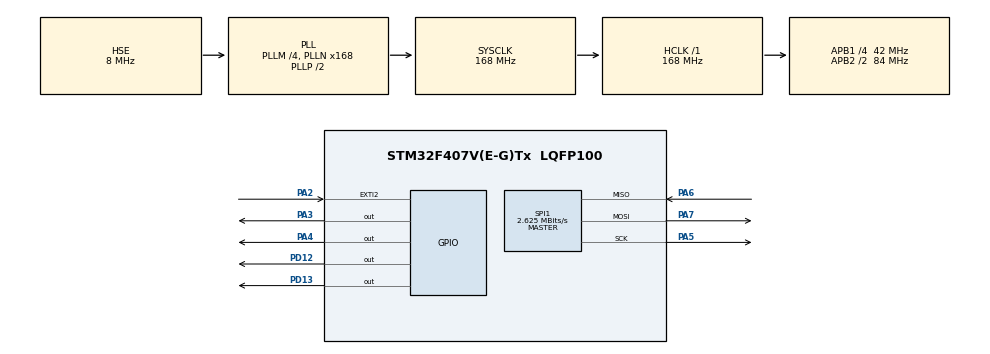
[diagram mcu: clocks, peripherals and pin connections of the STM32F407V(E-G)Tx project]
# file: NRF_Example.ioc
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Mcu.Family=STM32F4
Mcu.Name=STM32F407V(E-G)Tx
Mcu.Package=LQFP100
NVIC.EXTI2_IRQn=true\:0\:0\:false\:false\:true\:true\:true
NVIC.PriorityGroup=NVIC_PRIORITYGROUP_4
PA2.GPIO_ModeDefaultEXTI=GPIO_MODE_IT_RISING_FALLING
PA2.Signal=GPXTI2
PA3.Signal=GPIO_Output
PA4.Signal=GPIO_Output
PA5.Mode=Full_Duplex_Master
PA5.Signal=SPI1_SCK
PA6.Mode=Full_Duplex_Master
PA6.Signal=SPI1_MISO
PA7.Mode=Full_Duplex_Master
PA7.Signal=SPI1_MOSI
PD12.Signal=GPIO_Output
PD13.Signal=GPIO_Output
PH0-OSC_IN.Mode=HSE-External-Oscillator
PH0-OSC_IN.Signal=RCC_OSC_IN
PH1-OSC_OUT.Mode=HSE-External-Oscillator
PH1-OSC_OUT.Signal=RCC_OSC_OUT
ProjectManager.HeapSize=0x200
ProjectManager.StackSize=0x400
ProjectManager.TargetToolchain=STM32CubeIDE
RCC.48MHZClocksFreq_Value=84000000
RCC.AHBFreq_Value=168000000
RCC.APB1CLKDivider=RCC_HCLK_DIV4
RCC.APB1Freq_Value=42000000
RCC.APB1TimFreq_Value=84000000
RCC.APB2CLKDivider=RCC_HCLK_DIV2
RCC.APB2Freq_Value=84000000
RCC.APB2TimFreq_Value=168000000
RCC.CortexFreq_Value=168000000
RCC.HCLKFreq_Value=168000000
RCC.HSE_VALUE=8000000
RCC.HSI_VALUE=16000000
RCC.LSE_VALUE=32768
RCC.PLLM=4
RCC.PLLN=168
RCC.PLLSourceVirtual=RCC_PLLSOURCE_HSE
RCC.SYSCLKFreq_VALUE=168000000
RCC.SYSCLKSource=RCC_SYSCLKSOURCE_PLLCLK
RCC.VCOOutputFreq_Value=336000000
SPI1.BaudRatePrescaler=SPI_BAUDRATEPRESCALER_32
SPI1.CalculateBaudRate=2.625 MBits/s
SPI1.Direction=SPI_DIRECTION_2LINES
SPI1.Mode=SPI_MODE_MASTER
SPI1.VirtualType=VM_MASTER
board=custom

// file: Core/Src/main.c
/* USER CODE BEGIN Header */
/**
  ******************************************************************************
  * @file           : main.c
  * @brief          : Main program body
  ******************************************************************************
  * @attention
  *
  * <h2><center>&copy; Copyright (c) 2020 STMicroelectronics.
  * All rights reserved.</center></h2>
  *
  * This software component is licensed by ST under BSD 3-Clause license,
  * the "License"; You may not use this file except in compliance with the
  * License. You may obtain a copy of the License at:
  *                        opensource.org/licenses/BSD-3-Clause
  *
  ******************************************************************************
  */
/* USER CODE END Header */

#include "main.h"

/* USER CODE BEGIN Includes */
#include "dwt_delay.h"
#include "nRF24L01P.h"
/* USER CODE END Includes */

/* USER CODE BEGIN PD */
void NRFSendData(char * nrfID, char * nrfData);
void NRF_main_init(void);
/* USER CODE END PD */

SPI_HandleTypeDef hspi1;

/* USER CODE BEGIN PV */
nRF24L01P myNRF;
char RXBuffer[32];
char TXBuffer[32];
char regStatus;
/* USER CODE END PV */

void SystemClock_Config(void);
static void MX_GPIO_Init(void);
static void MX_SPI1_Init(void);

int main(void)
{

  /* MCU Configuration--------------------------------------------------------*/

  /* Reset of all peripherals, Initializes the Flash interface and the Systick. */
  HAL_Init();

  /* Configure the system clock */
  SystemClock_Config();

  /* Initialize all configured peripherals */
  MX_GPIO_Init();
  MX_SPI1_Init();
  /* USER CODE BEGIN 2 */
  HAL_Delay(100);
  DWT_Init();
  NRF_main_init();
  /* USER CODE END 2 */

  /* Infinite loop */
  while (1)
  {

    /* USER CODE BEGIN 3 */
	  NRFSendData("00000", "1234567890");
	  HAL_Delay(100);

	  if((myNRF.RXIRQ==1) && (!myNRF.Busy))
	  {
		  HAL_GPIO_TogglePin(GPIOD, GPIO_PIN_13);
		  myNRF.RXIRQ==0;
		  if(myNRF.RX_Buffer[0] > 100 )
		  {

		  }
	  }

	  HAL_GPIO_TogglePin(GPIOD, GPIO_PIN_14);

  }
  /* USER CODE END 3 */
}

void SystemClock_Config(void)
{
  RCC_OscInitTypeDef RCC_OscInitStruct = {0};
  RCC_ClkInitTypeDef RCC_ClkInitStruct = {0};

  /** Configure the main internal regulator output voltage
  */
  __HAL_RCC_PWR_CLK_ENABLE();
  __HAL_PWR_VOLTAGESCALING_CONFIG(PWR_REGULATOR_VOLTAGE_SCALE1);
  /** Initializes the CPU, AHB and APB busses clocks
  */
  RCC_OscInitStruct.OscillatorType = RCC_OSCILLATORTYPE_HSE;
  RCC_OscInitStruct.HSEState = RCC_HSE_ON;
  RCC_OscInitStruct.PLL.PLLState = RCC_PLL_ON;
  RCC_OscInitStruct.PLL.PLLSource = RCC_PLLSOURCE_HSE;
  RCC_OscInitStruct.PLL.PLLM = 4;
  RCC_OscInitStruct.PLL.PLLN = 168;
  RCC_OscInitStruct.PLL.PLLP = RCC_PLLP_DIV2;
  RCC_OscInitStruct.PLL.PLLQ = 4;
  if (HAL_RCC_OscConfig(&RCC_OscInitStruct) != HAL_OK)
  {
    Error_Handler();
  }
  /** Initializes the CPU, AHB and APB busses clocks
  */
  RCC_ClkInitStruct.ClockType = RCC_CLOCKTYPE_HCLK|RCC_CLOCKTYPE_SYSCLK
                              |RCC_CLOCKTYPE_PCLK1|RCC_CLOCKTYPE_PCLK2;
  RCC_ClkInitStruct.SYSCLKSource = RCC_SYSCLKSOURCE_PLLCLK;
  RCC_ClkInitStruct.AHBCLKDivider = RCC_SYSCLK_DIV1;
  RCC_ClkInitStruct.APB1CLKDivider = RCC_HCLK_DIV4;
  RCC_ClkInitStruct.APB2CLKDivider = RCC_HCLK_DIV2;

  if (HAL_RCC_ClockConfig(&RCC_ClkInitStruct, FLASH_LATENCY_5) != HAL_OK)
  {
    Error_Handler();
  }
}

static void MX_SPI1_Init(void)
{

  /* SPI1 parameter configuration*/
  hspi1.Instance = SPI1;
  hspi1.Init.Mode = SPI_MODE_MASTER;
  hspi1.Init.Direction = SPI_DIRECTION_2LINES;
  hspi1.Init.DataSize = SPI_DATASIZE_8BIT;
  hspi1.Init.CLKPolarity = SPI_POLARITY_LOW;
  hspi1.Init.CLKPhase = SPI_PHASE_1EDGE;
  hspi1.Init.NSS = SPI_NSS_SOFT;
  hspi1.Init.BaudRatePrescaler = SPI_BAUDRATEPRESCALER_32;
  hspi1.Init.FirstBit = SPI_FIRSTBIT_MSB;
  hspi1.Init.TIMode = SPI_TIMODE_DISABLE;
  hspi1.Init.CRCCalculation = SPI_CRCCALCULATION_DISABLE;
  hspi1.Init.CRCPolynomial = 10;
  if (HAL_SPI_Init(&hspi1) != HAL_OK)
  {
    Error_Handler();
  }

}

static void MX_GPIO_Init(void)
{
  GPIO_InitTypeDef GPIO_InitStruct = {0};

  /* GPIO Ports Clock Enable */
  __HAL_RCC_GPIOH_CLK_ENABLE();
  __HAL_RCC_GPIOA_CLK_ENABLE();
  __HAL_RCC_GPIOD_CLK_ENABLE();

  /*Configure GPIO pin Output Level */
  HAL_GPIO_WritePin(GPIOA, GPIO_PIN_3|GPIO_PIN_4, GPIO_PIN_RESET);

  /*Configure GPIO pin Output Level */
  HAL_GPIO_WritePin(GPIOD, GPIO_PIN_12|GPIO_PIN_13, GPIO_PIN_RESET);

  /*Configure GPIO pin : PA2 */
  GPIO_InitStruct.Pin = GPIO_PIN_2;
  GPIO_InitStruct.Mode = GPIO_MODE_IT_RISING_FALLING;
  GPIO_InitStruct.Pull = GPIO_NOPULL;
  HAL_GPIO_Init(GPIOA, &GPIO_InitStruct);

  /*Configure GPIO pins : PA3 PA4 */
  GPIO_InitStruct.Pin = GPIO_PIN_3|GPIO_PIN_4;
  GPIO_InitStruct.Mode = GPIO_MODE_OUTPUT_PP;
  GPIO_InitStruct.Pull = GPIO_NOPULL;
  GPIO_InitStruct.Speed = GPIO_SPEED_FREQ_LOW;
  HAL_GPIO_Init(GPIOA, &GPIO_InitStruct);

  /*Configure GPIO pins : PD12 PD13 */
  GPIO_InitStruct.Pin = GPIO_PIN_12|GPIO_PIN_13;
  GPIO_InitStruct.Mode = GPIO_MODE_OUTPUT_PP;
  GPIO_InitStruct.Pull = GPIO_NOPULL;
  GPIO_InitStruct.Speed = GPIO_SPEED_FREQ_LOW;
  HAL_GPIO_Init(GPIOD, &GPIO_InitStruct);

  /* EXTI interrupt init*/
  HAL_NVIC_SetPriority(EXTI2_IRQn, 0, 0);
  HAL_NVIC_EnableIRQ(EXTI2_IRQn);

}

/* USER CODE BEGIN 4 */
void HAL_GPIO_EXTI_Callback(uint16_t GPIO_Pin)
{
	if(GPIO_Pin == GPIO_PIN_2)
	{
		if(HAL_nRF24L01P_IRQ_Handler(&myNRF) != HAL_OK)
		{
			Error_Handler();
		}
		HAL_nRF24L01P_ReadRegister(&myNRF, nRF_STATUS, &regStatus);
	}
}

void NRFSendData(char * nrfID, char * nrfData)
{
	HAL_nRF24L01P_SetPTXAddress(&myNRF, (uint8_t *) nrfID);
	if(HAL_nRF24L01P_TransmitPacketACK(&myNRF, (uint8_t *) nrfData, nRF_DATA_PIPE_0) != HAL_OK)
	{
		//Error
	}
}

void NRF_main_init(void)
{
	/* ---- myNRF24L01+ Definitions ---- */
	myNRF.hspi = &hspi1;
	myNRF.CRC_Width = nRF_CRC_WIDTH_BYTE;
	myNRF.ADDR_Width = nRF_ADDR_WIDTH_5;
	myNRF.Data_Rate = nRF_DATA_RATE_250KBPS;
	myNRF.TX_Power = nRF_TX_PWR_M18dBm;
	myNRF.State = nRF_STATE_RX;

	myNRF.RF_Channel = 1;
	myNRF.PayloadWidth = nRF_RXPW_32BYTES;
	myNRF.RetransmitCount = nRF_RETX_DISABLED;// nRF_RETX_COUNT_15;
	myNRF.RetransmitDelay = nRF_RETX_DELAY_250uS; //nRF_RETX_DELAY_4000uS;

	myNRF.RX_Address = (uint8_t *)"00001";
	myNRF.TX_Address = (uint8_t *)"00000";

	myNRF.RX_Buffer = RXBuffer;
	myNRF.TX_Buffer = TXBuffer;

	myNRF.nRF_nSS_GPIO_PORT = GPIOA;
	myNRF.nRF_nSS_GPIO_PIN = GPIO_PIN_3;

	myNRF.nRF_CE_GPIO_PORT = GPIOA;
	myNRF.nRF_CE_GPIO_PIN = GPIO_PIN_4;

	//ekleme
	myNRF.RXIRQ = 0;
	myNRF.TXIRQ = 0;
	myNRF.MaxReIRQ = 0;
	/* ---- myNRF24L01+ Definitions ---- */

	if(HAL_nRF24L01P_Init(&myNRF) != HAL_OK)
	{
		Error_Handler();
	}
}
/* USER CODE END 4 */

void Error_Handler(void)
{
}

/************************ (C) COPYRIGHT STMicroelectronics *****END OF FILE****/
